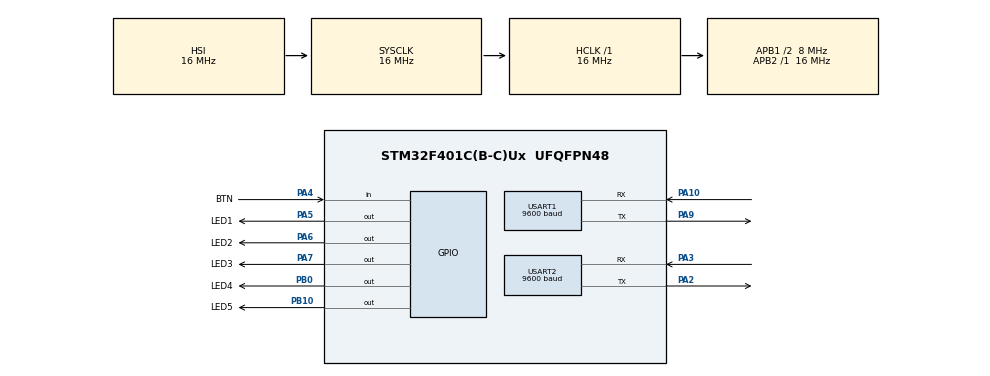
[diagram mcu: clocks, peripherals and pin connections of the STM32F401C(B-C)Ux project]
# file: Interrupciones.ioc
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Dma.Request0=USART2_RX
Dma.Request1=USART1_RX
Dma.USART1_RX.1.Direction=DMA_PERIPH_TO_MEMORY
Dma.USART1_RX.1.FIFOMode=DMA_FIFOMODE_DISABLE
Dma.USART1_RX.1.Instance=DMA2_Stream2
Dma.USART1_RX.1.MemDataAlignment=DMA_MDATAALIGN_BYTE
Dma.USART1_RX.1.MemInc=DMA_MINC_ENABLE
Dma.USART1_RX.1.Mode=DMA_NORMAL
Dma.USART1_RX.1.PeriphDataAlignment=DMA_PDATAALIGN_BYTE
Dma.USART1_RX.1.PeriphInc=DMA_PINC_DISABLE
Dma.USART1_RX.1.Priority=DMA_PRIORITY_LOW
Dma.USART2_RX.0.Direction=DMA_PERIPH_TO_MEMORY
Dma.USART2_RX.0.FIFOMode=DMA_FIFOMODE_DISABLE
Dma.USART2_RX.0.Instance=DMA1_Stream5
Dma.USART2_RX.0.MemDataAlignment=DMA_MDATAALIGN_BYTE
Dma.USART2_RX.0.MemInc=DMA_MINC_ENABLE
Dma.USART2_RX.0.Mode=DMA_NORMAL
Dma.USART2_RX.0.PeriphDataAlignment=DMA_PDATAALIGN_BYTE
Dma.USART2_RX.0.PeriphInc=DMA_PINC_DISABLE
Dma.USART2_RX.0.Priority=DMA_PRIORITY_LOW
Mcu.Family=STM32F4
Mcu.Name=STM32F401C(B-C)Ux
Mcu.Package=UFQFPN48
NVIC.DMA1_Stream5_IRQn=true\:0\:0\:false\:false\:true\:false\:true\:true
NVIC.DMA2_Stream2_IRQn=true\:0\:0\:false\:false\:true\:false\:true\:true
NVIC.PriorityGroup=NVIC_PRIORITYGROUP_4
NVIC.TIM1_UP_TIM10_IRQn=true\:0\:0\:false\:false\:true\:true\:true\:true
NVIC.USART1_IRQn=true\:0\:0\:false\:false\:true\:true\:true\:true
NVIC.USART2_IRQn=true\:0\:0\:false\:false\:true\:true\:true\:true
PA10.Mode=Asynchronous
PA10.Signal=USART1_RX
PA2.Mode=Asynchronous
PA2.Signal=USART2_TX
PA3.Mode=Asynchronous
PA3.Signal=USART2_RX
PA4.GPIO_Label=BTN
PA4.GPIO_Mode=GPIO_MODE_INPUT
PA4.GPIO_PuPd=GPIO_PULLDOWN
PA4.Signal=GPIO_Input
PA5.GPIO_Label=LED1
PA5.Signal=GPIO_Output
PA6.GPIO_Label=LED2
PA6.Signal=GPIO_Output
PA7.GPIO_Label=LED3
PA7.Signal=GPIO_Output
PA9.Mode=Asynchronous
PA9.Signal=USART1_TX
PB0.GPIO_Label=LED4
PB0.GPIO_ModeDefaultOutputPP=GPIO_MODE_OUTPUT_PP
PB0.Signal=GPIO_Output
PB10.GPIO_Label=LED5
PB10.Signal=GPIO_Output
PH0\ -\ OSC_IN.Mode=HSE-External-Oscillator
PH0\ -\ OSC_IN.Signal=RCC_OSC_IN
PH1\ -\ OSC_OUT.Mode=HSE-External-Oscillator
PH1\ -\ OSC_OUT.Signal=RCC_OSC_OUT
ProjectManager.HeapSize=0x200
ProjectManager.StackSize=0x400
ProjectManager.TargetToolchain=CMake
RCC.48MHZClocksFreq_Value=42000000
RCC.AHBFreq_Value=16000000
RCC.APB1CLKDivider=RCC_HCLK_DIV2
RCC.APB1Freq_Value=8000000
RCC.APB1TimFreq_Value=16000000
RCC.APB2Freq_Value=16000000
RCC.APB2TimFreq_Value=16000000
RCC.CortexFreq_Value=16000000
RCC.HCLKFreq_Value=16000000
RCC.HSE_VALUE=25000000
RCC.HSI_VALUE=16000000
RCC.LSE_VALUE=32768
RCC.PLLM=25
RCC.PLLN=168
RCC.PLLSourceVirtual=RCC_PLLSOURCE_HSE
RCC.SYSCLKFreq_VALUE=16000000
RCC.VCOOutputFreq_Value=168000000
TIM1.AutoReloadPreload=TIM_AUTORELOAD_PRELOAD_ENABLE
TIM1.Period=5000-1
TIM1.Prescaler=1600-1
USART1.BaudRate=9600
USART1.VirtualMode=VM_ASYNC
USART2.BaudRate=9600
USART2.VirtualMode=VM_ASYNC
VP_TIM1_VS_ClockSourceINT.Mode=Internal
board=custom

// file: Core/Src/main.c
/* USER CODE BEGIN Header */
/**
  ******************************************************************************
  * @file           : main.c
  * @brief          : Main program body
  ******************************************************************************
  * @attention
  *
  * Copyright (c) 2026 STMicroelectronics.
  * All rights reserved.
  *
  * This software is licensed under terms that can be found in the LICENSE file
  * in the root directory of this software component.
  * If no LICENSE file comes with this software, it is provided AS-IS.
  *
  ******************************************************************************
  */
/* USER CODE END Header */
#include "main.h"

/* USER CODE BEGIN Includes */
#include "stdio.h"
#include "string.h"
#include "stdlib.h"
#include "stdbool.h"
#include "math.h"
#include "uart.h"
#include "UARTRX.h"
/* USER CODE END Includes */

TIM_HandleTypeDef htim1;

UART_HandleTypeDef huart1;
UART_HandleTypeDef huart2;
DMA_HandleTypeDef hdma_usart1_rx;
DMA_HandleTypeDef hdma_usart2_rx;

void SystemClock_Config(void);
static void MX_GPIO_Init(void);
static void MX_DMA_Init(void);
static void MX_TIM1_Init(void);
static void MX_USART2_UART_Init(void);
static void MX_USART1_UART_Init(void);
/* USER CODE BEGIN PFP */
void revisar_serial(UART_HandleTypeDef *huart);
void enviar_a_ambos(char *texto);
/* USER CODE END PFP */

int main(void)
{

  /* MCU Configuration--------------------------------------------------------*/

  /* Reset of all peripherals, Initializes the Flash interface and the Systick. */
  HAL_Init();

  /* Configure the system clock */
  SystemClock_Config();

  /* Initialize all configured peripherals */
  MX_GPIO_Init();
  MX_DMA_Init();
  MX_TIM1_Init();
  MX_USART2_UART_Init();
  MX_USART1_UART_Init();
  /* USER CODE BEGIN 2 */
  // Timer de los LEDs 1, 2 y 3 (los toggles se hacen en stm32f4xx_it.c)
  HAL_TIM_Base_Start_IT(&htim1);

  // Recepción serial SIN DMA/IDLE: se lee el registro del USART en el while.
  // (El modelo del STM32F401 en Proteus no simula bien DMA + IDLE.)
  // Se atienden los dos puertos: USART2 (PA2 TX / PA3 RX) y USART1 (PA9 TX / PA10 RX).

  // Mensaje de arranque (una sola vez)
  enviar_a_ambos("Sistema iniciado. Comandos: 1 = LED5 ON, 0 = LED5 OFF\r\n");

  /* USER CODE END 2 */

  /* Infinite loop */
  /* USER CODE BEGIN WHILE */
  while (1)
  {
    // LED5: revisa si llegó un caracter por cualquiera de los dos seriales
    revisar_serial(&huart2);
    revisar_serial(&huart1);

    // LED4: sigue al botón (presionado = 1 = prende, suelto = 0 = apaga)
    // Sin HAL_Delay: el lazo queda libre para atender el serial al instante.
    HAL_GPIO_WritePin(LED4_GPIO_Port, LED4_Pin,
                      HAL_GPIO_ReadPin(BTN_GPIO_Port, BTN_Pin));
    /* USER CODE END WHILE */

  }
}

void SystemClock_Config(void)
{
  RCC_OscInitTypeDef RCC_OscInitStruct = {0};
  RCC_ClkInitTypeDef RCC_ClkInitStruct = {0};

  /** Configure the main internal regulator output voltage
  */
  __HAL_RCC_PWR_CLK_ENABLE();
  __HAL_PWR_VOLTAGESCALING_CONFIG(PWR_REGULATOR_VOLTAGE_SCALE2);

  /** Initializes the RCC Oscillators according to the specified parameters
  * in the RCC_OscInitTypeDef structure.
  */
  RCC_OscInitStruct.OscillatorType = RCC_OSCILLATORTYPE_HSI;
  RCC_OscInitStruct.HSIState = RCC_HSI_ON;
  RCC_OscInitStruct.HSICalibrationValue = RCC_HSICALIBRATION_DEFAULT;
  RCC_OscInitStruct.PLL.PLLState = RCC_PLL_NONE;
  if (HAL_RCC_OscConfig(&RCC_OscInitStruct) != HAL_OK)
  {
    Error_Handler();
  }

  /** Initializes the CPU, AHB and APB buses clocks
  */
  RCC_ClkInitStruct.ClockType = RCC_CLOCKTYPE_HCLK|RCC_CLOCKTYPE_SYSCLK
                              |RCC_CLOCKTYPE_PCLK1|RCC_CLOCKTYPE_PCLK2;
  RCC_ClkInitStruct.SYSCLKSource = RCC_SYSCLKSOURCE_HSI;
  RCC_ClkInitStruct.AHBCLKDivider = RCC_SYSCLK_DIV1;
  RCC_ClkInitStruct.APB1CLKDivider = RCC_HCLK_DIV2;
  RCC_ClkInitStruct.APB2CLKDivider = RCC_HCLK_DIV1;

  if (HAL_RCC_ClockConfig(&RCC_ClkInitStruct, FLASH_LATENCY_0) != HAL_OK)
  {
    Error_Handler();
  }
}

static void MX_TIM1_Init(void)
{

  TIM_ClockConfigTypeDef sClockSourceConfig = {0};
  TIM_MasterConfigTypeDef sMasterConfig = {0};

  htim1.Instance = TIM1;
  htim1.Init.Prescaler = 1600-1;
  htim1.Init.CounterMode = TIM_COUNTERMODE_UP;
  htim1.Init.Period = 5000-1;
  htim1.Init.ClockDivision = TIM_CLOCKDIVISION_DIV1;
  htim1.Init.RepetitionCounter = 0;
  htim1.Init.AutoReloadPreload = TIM_AUTORELOAD_PRELOAD_ENABLE;
  if (HAL_TIM_Base_Init(&htim1) != HAL_OK)
  {
    Error_Handler();
  }
  sClockSourceConfig.ClockSource = TIM_CLOCKSOURCE_INTERNAL;
  if (HAL_TIM_ConfigClockSource(&htim1, &sClockSourceConfig) != HAL_OK)
  {
    Error_Handler();
  }
  sMasterConfig.MasterOutputTrigger = TIM_TRGO_RESET;
  sMasterConfig.MasterSlaveMode = TIM_MASTERSLAVEMODE_DISABLE;
  if (HAL_TIMEx_MasterConfigSynchronization(&htim1, &sMasterConfig) != HAL_OK)
  {
    Error_Handler();
  }

}

static void MX_USART1_UART_Init(void)
{

  huart1.Instance = USART1;
  huart1.Init.BaudRate = 9600;
  huart1.Init.WordLength = UART_WORDLENGTH_8B;
  huart1.Init.StopBits = UART_STOPBITS_1;
  huart1.Init.Parity = UART_PARITY_NONE;
  huart1.Init.Mode = UART_MODE_TX_RX;
  huart1.Init.HwFlowCtl = UART_HWCONTROL_NONE;
  huart1.Init.OverSampling = UART_OVERSAMPLING_16;
  if (HAL_UART_Init(&huart1) != HAL_OK)
  {
    Error_Handler();
  }

}

static void MX_USART2_UART_Init(void)
{

  huart2.Instance = USART2;
  huart2.Init.BaudRate = 9600;
  huart2.Init.WordLength = UART_WORDLENGTH_8B;
  huart2.Init.StopBits = UART_STOPBITS_1;
  huart2.Init.Parity = UART_PARITY_NONE;
  huart2.Init.Mode = UART_MODE_TX_RX;
  huart2.Init.HwFlowCtl = UART_HWCONTROL_NONE;
  huart2.Init.OverSampling = UART_OVERSAMPLING_16;
  if (HAL_UART_Init(&huart2) != HAL_OK)
  {
    Error_Handler();
  }

}

static void MX_DMA_Init(void)
{

  /* DMA controller clock enable */
  __HAL_RCC_DMA1_CLK_ENABLE();
  __HAL_RCC_DMA2_CLK_ENABLE();

  /* DMA interrupt init */
  /* DMA1_Stream5_IRQn interrupt configuration */
  HAL_NVIC_SetPriority(DMA1_Stream5_IRQn, 0, 0);
  HAL_NVIC_EnableIRQ(DMA1_Stream5_IRQn);
  /* DMA2_Stream2_IRQn interrupt configuration */
  HAL_NVIC_SetPriority(DMA2_Stream2_IRQn, 0, 0);
  HAL_NVIC_EnableIRQ(DMA2_Stream2_IRQn);

}

static void MX_GPIO_Init(void)
{
  GPIO_InitTypeDef GPIO_InitStruct = {0};

  /* GPIO Ports Clock Enable */
  __HAL_RCC_GPIOH_CLK_ENABLE();
  __HAL_RCC_GPIOA_CLK_ENABLE();
  __HAL_RCC_GPIOB_CLK_ENABLE();

  /*Configure GPIO pin Output Level */
  HAL_GPIO_WritePin(GPIOA, LED1_Pin|LED2_Pin|LED3_Pin, GPIO_PIN_RESET);

  /*Configure GPIO pin Output Level */
  HAL_GPIO_WritePin(GPIOB, LED4_Pin|LED5_Pin, GPIO_PIN_RESET);

  /*Configure GPIO pin : BTN_Pin */
  GPIO_InitStruct.Pin = BTN_Pin;
  GPIO_InitStruct.Mode = GPIO_MODE_INPUT;
  GPIO_InitStruct.Pull = GPIO_PULLDOWN;
  HAL_GPIO_Init(BTN_GPIO_Port, &GPIO_InitStruct);

  /*Configure GPIO pins : LED1_Pin LED2_Pin LED3_Pin */
  GPIO_InitStruct.Pin = LED1_Pin|LED2_Pin|LED3_Pin;
  GPIO_InitStruct.Mode = GPIO_MODE_OUTPUT_PP;
  GPIO_InitStruct.Pull = GPIO_NOPULL;
  GPIO_InitStruct.Speed = GPIO_SPEED_FREQ_LOW;
  HAL_GPIO_Init(GPIOA, &GPIO_InitStruct);

  /*Configure GPIO pins : LED4_Pin LED5_Pin */
  GPIO_InitStruct.Pin = LED4_Pin|LED5_Pin;
  GPIO_InitStruct.Mode = GPIO_MODE_OUTPUT_PP;
  GPIO_InitStruct.Pull = GPIO_NOPULL;
  GPIO_InitStruct.Speed = GPIO_SPEED_FREQ_LOW;
  HAL_GPIO_Init(GPIOB, &GPIO_InitStruct);

}

/* USER CODE BEGIN 4 */

/**
  * @brief  Envía un texto por los dos puertos serie (USART2 y USART1).
  */
void enviar_a_ambos(char *texto)
{
  uartx_write_text(&huart2, texto);
  uartx_write_text(&huart1, texto);
}

/**
  * @brief  Revisa si llegó un caracter por el USART y controla el LED5.
  *         Lee directamente el registro de datos (sin DMA, sin IDLE),
  *         que es lo que mejor funciona en la simulación de Proteus.
  *           '1' -> prende LED5
  *           '0' -> apaga  LED5
  *         Cualquier otro caracter (\r, \n, espacios...) se ignora.
  */
void revisar_serial(UART_HandleTypeDef *huart)
{
  uint32_t sr = huart->Instance->SR;

  // RXNE = llegó un dato; ORE = se perdió uno (igual hay que leer DR para limpiarlo)
  if (sr & (USART_SR_RXNE | USART_SR_ORE))
  {
    char c = (char)(huart->Instance->DR & 0xFF);   // leer DR limpia RXNE y ORE

    if (c == '1')
    {
      HAL_GPIO_WritePin(LED5_GPIO_Port, LED5_Pin, GPIO_PIN_SET);
      uartx_write_text(huart, "LED5 ON\r\n");
    }
    else if (c == '0')
    {
      HAL_GPIO_WritePin(LED5_GPIO_Port, LED5_Pin, GPIO_PIN_RESET);
      uartx_write_text(huart, "LED5 OFF\r\n");
    }
  }
}

/* USER CODE END 4 */

void Error_Handler(void)
{
  __disable_irq();
  while (1)
  {
  }
}
